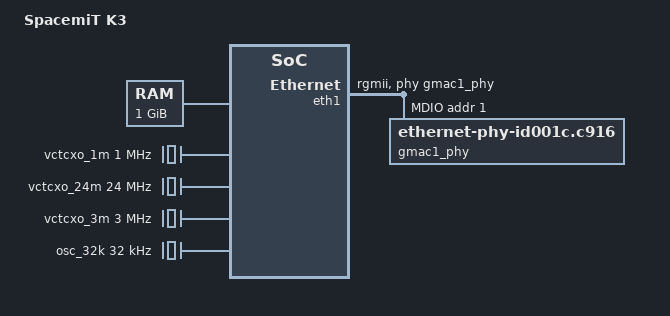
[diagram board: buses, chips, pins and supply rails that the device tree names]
/dts-v1/;

/ {
	#address-cells = <2>;
	#size-cells = <2>;
	model = "SpacemiT K3";
	compatible = "spacemit,k3";

	cpus: cpus {
		#address-cells = <1>;
		#size-cells = <0>;
		timebase-frequency = <24000000>;

		cpu_0: cpu@0 {
			compatible = "spacemit,x100", "riscv";
			device_type = "cpu";
			reg = <0>;
			riscv,isa-base = "rv64i";
			riscv,isa-extensions = "i", "m", "a", "f", "d", "c", "b", "v", "h",
					       "sha", "shcounterenw", "shgatpa", "shtvala",
					       "shvsatpa", "shvstvala", "shvstvecd", "smaia",
					       "smstateen", "ssaia", "ssccptr", "sscofpmf",
					       "sscounterenw", "ssnpm", "ssstateen", "sstc",
					       "sstvala", "sstvecd", "ssu64xl", "svade",
					       "svinval", "svnapot", "svpbmt", "za64rs",
					       "zawrs", "zba", "zbb", "zbc", "zbs", "zca",
					       "zcb", "zcd", "zcmop", "zfa", "zfbfmin",
					       "zfh", "zfhmin", "zicbom", "zicbop", "zicboz",
					       "ziccamoa", "ziccif", "zicclsm", "zicntr",
					       "zicond", "zicsr", "zifencei", "zihintntl",
					       "zihintpause", "zihpm", "zimop", "zkt", "zvbb",
					       "zvbc", "zvfbfmin", "zvfbfwma", "zvfh",
					       "zvfhmin", "zvkb", "zvkg", "zvkn", "zvknc",
					       "zvkned", "zvkng", "zvknha", "zvknhb", "zvks",
					       "zvksc", "zvksed", "zvksg", "zvksh", "zvkt";
			riscv,cbom-block-size = <64>;
			riscv,cbop-block-size = <64>;
			riscv,cboz-block-size = <64>;
			i-cache-block-size = <64>;
			i-cache-size = <65536>;
			i-cache-sets = <256>;
			d-cache-block-size = <64>;
			d-cache-size = <65536>;
			d-cache-sets = <256>;
			next-level-cache = <&l2_cache0>;
			mmu-type = "riscv,sv39";

			cpu0_intc: interrupt-controller {
				compatible = "riscv,cpu-intc";
				#interrupt-cells = <1>;
				interrupt-controller;
			};
		};

		cpu_1: cpu@1 {
			compatible = "spacemit,x100", "riscv";
			device_type = "cpu";
			reg = <1>;
			riscv,isa-base = "rv64i";
			riscv,isa-extensions = "i", "m", "a", "f", "d", "c", "b", "v", "h",
					       "sha", "shcounterenw", "shgatpa", "shtvala",
					       "shvsatpa", "shvstvala", "shvstvecd", "smaia",
					       "smstateen", "ssaia", "ssccptr", "sscofpmf",
					       "sscounterenw", "ssnpm", "ssstateen", "sstc",
					       "sstvala", "sstvecd", "ssu64xl", "svade",
					       "svinval", "svnapot", "svpbmt", "za64rs",
					       "zawrs", "zba", "zbb", "zbc", "zbs", "zca",
					       "zcb", "zcd", "zcmop", "zfa", "zfbfmin",
					       "zfh", "zfhmin", "zicbom", "zicbop", "zicboz",
					       "ziccamoa", "ziccif", "zicclsm", "zicntr",
					       "zicond", "zicsr", "zifencei", "zihintntl",
					       "zihintpause", "zihpm", "zimop", "zkt", "zvbb",
					       "zvbc", "zvfbfmin", "zvfbfwma", "zvfh",
					       "zvfhmin", "zvkb", "zvkg", "zvkn", "zvknc",
					       "zvkned", "zvkng", "zvknha", "zvknhb", "zvks",
					       "zvksc", "zvksed", "zvksg", "zvksh", "zvkt";
			riscv,cbom-block-size = <64>;
			riscv,cbop-block-size = <64>;
			riscv,cboz-block-size = <64>;
			i-cache-block-size = <64>;
			i-cache-size = <65536>;
			i-cache-sets = <256>;
			d-cache-block-size = <64>;
			d-cache-size = <65536>;
			d-cache-sets = <256>;
			next-level-cache = <&l2_cache0>;
			mmu-type = "riscv,sv39";

			cpu1_intc: interrupt-controller {
				compatible = "riscv,cpu-intc";
				#interrupt-cells = <1>;
				interrupt-controller;
			};
		};

		cpu_2: cpu@2 {
			compatible = "spacemit,x100", "riscv";
			device_type = "cpu";
			reg = <2>;
			riscv,isa-base = "rv64i";
			riscv,isa-extensions = "i", "m", "a", "f", "d", "c", "b", "v", "h",
					       "sha", "shcounterenw", "shgatpa", "shtvala",
					       "shvsatpa", "shvstvala", "shvstvecd", "smaia",
					       "smstateen", "ssaia", "ssccptr", "sscofpmf",
					       "sscounterenw", "ssnpm", "ssstateen", "sstc",
					       "sstvala", "sstvecd", "ssu64xl", "svade",
					       "svinval", "svnapot", "svpbmt", "za64rs",
					       "zawrs", "zba", "zbb", "zbc", "zbs", "zca",
					       "zcb", "zcd", "zcmop", "zfa", "zfbfmin",
					       "zfh", "zfhmin", "zicbom", "zicbop", "zicboz",
					       "ziccamoa", "ziccif", "zicclsm", "zicntr",
					       "zicond", "zicsr", "zifencei", "zihintntl",
					       "zihintpause", "zihpm", "zimop", "zkt", "zvbb",
					       "zvbc", "zvfbfmin", "zvfbfwma", "zvfh",
					       "zvfhmin", "zvkb", "zvkg", "zvkn", "zvknc",
					       "zvkned", "zvkng", "zvknha", "zvknhb", "zvks",
					       "zvksc", "zvksed", "zvksg", "zvksh", "zvkt";
			riscv,cbom-block-size = <64>;
			riscv,cbop-block-size = <64>;
			riscv,cboz-block-size = <64>;
			i-cache-block-size = <64>;
			i-cache-size = <65536>;
			i-cache-sets = <256>;
			d-cache-block-size = <64>;
			d-cache-size = <65536>;
			d-cache-sets = <256>;
			next-level-cache = <&l2_cache0>;
			mmu-type = "riscv,sv39";

			cpu2_intc: interrupt-controller {
				compatible = "riscv,cpu-intc";
				#interrupt-cells = <1>;
				interrupt-controller;
			};
		};

		cpu_3: cpu@3 {
			compatible = "spacemit,x100", "riscv";
			device_type = "cpu";
			reg = <3>;
			riscv,isa-base = "rv64i";
			riscv,isa-extensions = "i", "m", "a", "f", "d", "c", "b", "v", "h",
					       "sha", "shcounterenw", "shgatpa", "shtvala",
					       "shvsatpa", "shvstvala", "shvstvecd", "smaia",
					       "smstateen", "ssaia", "ssccptr", "sscofpmf",
					       "sscounterenw", "ssnpm", "ssstateen", "sstc",
					       "sstvala", "sstvecd", "ssu64xl", "svade",
					       "svinval", "svnapot", "svpbmt", "za64rs",
					       "zawrs", "zba", "zbb", "zbc", "zbs", "zca",
					       "zcb", "zcd", "zcmop", "zfa", "zfbfmin",
					       "zfh", "zfhmin", "zicbom", "zicbop", "zicboz",
					       "ziccamoa", "ziccif", "zicclsm", "zicntr",
					       "zicond", "zicsr", "zifencei", "zihintntl",
					       "zihintpause", "zihpm", "zimop", "zkt", "zvbb",
					       "zvbc", "zvfbfmin", "zvfbfwma", "zvfh",
					       "zvfhmin", "zvkb", "zvkg", "zvkn", "zvknc",
					       "zvkned", "zvkng", "zvknha", "zvknhb", "zvks",
					       "zvksc", "zvksed", "zvksg", "zvksh", "zvkt";
			riscv,cbom-block-size = <64>;
			riscv,cbop-block-size = <64>;
			riscv,cboz-block-size = <64>;
			i-cache-block-size = <64>;
			i-cache-size = <65536>;
			i-cache-sets = <256>;
			d-cache-block-size = <64>;
			d-cache-size = <65536>;
			d-cache-sets = <256>;
			next-level-cache = <&l2_cache0>;
			mmu-type = "riscv,sv39";

			cpu3_intc: interrupt-controller {
				compatible = "riscv,cpu-intc";
				#interrupt-cells = <1>;
				interrupt-controller;
			};
		};

		l2_cache0: cache-controller-0 {
			compatible = "cache";
			cache-block-size = <64>;
			cache-level = <2>;
			cache-size = <4194304>;
			cache-sets = <4096>;
			cache-unified;
		};

		l2_cache1: cache-controller-1 {
			compatible = "cache";
			cache-block-size = <64>;
			cache-level = <2>;
			cache-size = <4194304>;
			cache-sets = <4096>;
			cache-unified;
		};

		cpu-map {
			cluster0 {
				core0 {
					cpu = <&cpu_0>;
				};
				core1 {
					cpu = <&cpu_1>;
				};
				core2 {
					cpu = <&cpu_2>;
				};
				core3 {
					cpu = <&cpu_3>;
				};
			};
		};
	};

	memory@180000000 {
		device_type = "memory";
		reg = <0x1 0x80000000 0x0 0x40000000>;
	};

	clocks {
		vctcxo_1m: clock-1m {
			compatible = "fixed-clock";
			clock-frequency = <1000000>;
			clock-output-names = "vctcxo_1m";
			#clock-cells = <0>;
		};

		vctcxo_24m: clock-24m {
			compatible = "fixed-clock";
			clock-frequency = <24000000>;
			clock-output-names = "vctcxo_24m";
			#clock-cells = <0>;
		};

		vctcxo_3m: clock-3m {
			compatible = "fixed-clock";
			clock-frequency = <3000000>;
			clock-output-names = "vctcxo_3m";
			#clock-cells = <0>;
		};

		osc_32k: clock-32k {
			compatible = "fixed-clock";
			clock-frequency = <32000>;
			clock-output-names = "osc_32k";
			#clock-cells = <0>;
		};
	};

	soc: soc {
		compatible = "simple-bus";
		interrupt-parent = <&saplic>;
		#address-cells = <2>;
		#size-cells = <2>;
		dma-noncoherent;
		ranges;

		syscon_apmu: system-controller@d4282800 {
			compatible = "spacemit,k3-syscon-apmu";
			reg = <0x0 0xd4282800 0x0 0x400>;
			clocks = <&osc_32k>, <&vctcxo_1m>, <&vctcxo_3m>, <&vctcxo_24m>;
			clock-names = "osc", "vctcxo_1m", "vctcxo_3m", "vctcxo_24m";
			#clock-cells = <1>;
			#power-domain-cells = <1>;
			#reset-cells = <1>;
		};

		/* APBC clock/reset controller: clock provider for the GPIO and pinctrl
		 * blocks, which gmac1 depends on (pinctrl-0 + PHY reset-gpio). Needs its
		 * MMIO (0xd4015000) passed through to the Bao guest. */
		syscon_apbc: system-controller@d4015000 {
			compatible = "spacemit,k3-syscon-apbc";
			reg = <0x0 0xd4015000 0x0 0x1000>;
			clocks = <&osc_32k>, <&vctcxo_1m>, <&vctcxo_3m>, <&vctcxo_24m>;
			clock-names = "osc", "vctcxo_1m", "vctcxo_3m", "vctcxo_24m";
			#clock-cells = <1>;
			#reset-cells = <1>;
		};

		/* GPIO register block, also viewed as two syscon regions (overlapping
		 * the same 0xd4019000 page). Needs 0xd4019000 (0x1000) passed through. */
		syscon_gpio: syscon-gpio {
			compatible = "syscon";
			reg = <0x0 0xd4019000 0x0 0x800>;
		};

		syscon_gpio_edge: syscon-gpio-edge {
			compatible = "syscon";
			reg = <0x0 0xd4019800 0x0 0x10>;
		};

		/* GPIO controller - provides the PHY reset line (gmac1 bank1/line5). */
		gpio: gpio@d4019000 {
			compatible = "spacemit,k3-gpio";
			reg = <0x0 0xd4019000 0x0 0x100>;
			clocks = <&syscon_apbc 20>, <&syscon_apbc 21>; /* CLK_APBC_GPIO[_BUS] */
			clock-names = "core", "bus";
			gpio-controller;
			#gpio-cells = <3>;
			interrupts = <58 4>;
			interrupt-parent = <&saplic>;
			interrupt-controller;
			#interrupt-cells = <3>;
			syscon-gpio-regs = <&syscon_gpio>;
			syscon-gpio-edge = <&syscon_gpio_edge>;
			gpio-ranges = <&pinctrl 0 0 0 32>,
				      <&pinctrl 1 0 32 32>,
				      <&pinctrl 2 0 64 32>,
				      <&pinctrl 3 0 96 32>;
		};

		/* Pinctrl controller - muxes the gmac1 RGMII/MDIO pads (gmac1_cfg).
		 * Needs 0xd401e000 (0x1000) passed through. */
		pinctrl: pinctrl@d401e000 {
			compatible = "spacemit,k3-pinctrl";
			reg = <0x0 0xd401e000 0x0 0x400>,
			      <0x0 0xd401e800 0x0 0x34>;
			clocks = <&syscon_apbc 103>, <&syscon_apbc 104>; /* CLK_APBC_AIB[_BUS] */
			clock-names = "func", "bus";
			interrupt-controller;
			#interrupt-cells = <2>;
			interrupts = <60 4>;
			interrupt-parent = <&saplic>;
			spacemit,gpio-edge = <&syscon_gpio_edge>;
			spacemit,apbc = <&syscon_apbc 0x50>;
			spacemit,apmu = <&syscon_apmu>;
		};

		eth1: ethernet@cac82000 {
			compatible = "spacemit,k3-gmac", "snps,dwmac-5.10a";
			reg = <0x0 0xcac82000 0x0 0x2000>;
			clocks = <&syscon_apmu 79>,
				 <&syscon_apmu 81>;
			clock-names = "stmmaceth", "ptp_ref";
			interrupts = <133 4>,
				     <277 4>;
			interrupt-names = "macirq", "eth_wake_irq";
			resets = <&syscon_apmu 78>;
			reset-names = "stmmaceth";
			rx-fifo-depth = <8192>;
			tx-fifo-depth = <8192>;
			snps,multicast-filter-bins = <64>;
			snps,perfect-filter-entries = <32>;
			snps,aal;
			snps,tso;
			snps,txpbl = <8>;
			snps,rxpbl = <8>;
			snps,force_sf_dma_mode;
			snps,axi-config = <&gmac1_axi_setup>;
			/* dwmac-spacemit-ethqos reads these as 3 separate properties:
			 * spacemit,apmu = phandle only; ctrl/dline offsets as u32. */
			spacemit,apmu = <&syscon_apmu>;
			spacemit,ctrl-offset = <0x3ec>;
			spacemit,dline-offset = <0x3f0>;
			status = "disabled";

			mdio {
				compatible = "snps,dwmac-mdio";
				#address-cells = <1>;
				#size-cells = <0>;
			};

			gmac1_axi_setup: stmmac-axi-config {
				snps,wr_osr_lmt = <0xf>;
				snps,rd_osr_lmt = <0xf>;
				/* max axi burst len is 256 */
				snps,blen = <256 128 64 32 16 0 0>;
			};
		};

		simsic: interrupt-controller@e0400000 {
			compatible = "spacemit,k3-imsics", "riscv,imsics";
			/* Bao maps one S-level interrupt file per vCPU CONTIGUOUSLY, one
			 * 4K page apart (vimsic: imsic.base + 4K * vcpu_id). The virtual
			 * geometry is therefore guest-index-bits = 0 (absent) and
			 * hart-index-bits = 2 (covers the 4 harts => 0x4000 window), so
			 * cpu N's file sits at 0xe0400000 + N*0x1000. hart-index-bits
			 * MUST match: the APLIC MSI driver decomposes the per-CPU MSI
			 * address with it (WARN at aplic_msi_write_msg otherwise). Each
			 * file is backed by a VS interrupt file: only 63 MSI ids. */
			reg = <0x0 0xe0400000 0x0 0x4000>;
			#interrupt-cells = <0>;
			#msi-cells = <0>;
			interrupt-controller;
			interrupts-extended = <&cpu0_intc 9>, <&cpu1_intc 9>,
					      <&cpu2_intc 9>, <&cpu3_intc 9>;
			msi-controller;
			riscv,hart-index-bits = <2>;
			riscv,num-ids = <63>;
		};

		saplic: interrupt-controller@e0804000 {
			compatible = "spacemit,k3-aplic", "riscv,aplic";
			reg = <0x0 0xe0804000 0x0 0x4000>;
			#interrupt-cells = <2>;
			interrupt-controller;
			msi-parent = <&simsic>;
			riscv,num-sources = <512>;
		};
	};

	chosen {
		bootargs = "clk_ignore_unused ip=192.168.42.15 carrier_timeout=0";
	};

    aliases {
		ethernet0 = &eth1;
	};

	/* Bao inter-VM shared-memory channel to the FreeRTOS VM (shmem 0 in the
	 * Bao config: base 0xf0000000, 64 KiB, notification irq 52). The channel
	 * layout mirrors the FreeRTOS demo app: it writes its message at offset
	 * 0x0 (our read-channel) and reads ours at 0x2000 (our write-channel).
	 * Driver: the out-of-tree "ipc" module from bao-project/bao-linux-drivers
	 * (compatible bao,ipcshmem); no kernel patch needed. */
	bao-ipc@f0000000 {
		compatible = "bao,ipcshmem";
		reg = <0x0 0xf0000000 0x0 0x00010000>;
		read-channel = <0x0 0x2000>;
		write-channel = <0x2000 0x2000>;
		interrupt-parent = <&saplic>;
		interrupts = <52 1>; /* edge-rising: message irq injected by Bao */
		id = <0>;
	};
};

/* gmac1 RGMII + MDIO pad mux (effective CoM260-kit set: vendor groups 0/1/3/6,
 * with kit's gmac1-2/4/5 deleted). pinmux raw form = (pin << 16) | func. */
&pinctrl {
	/omit-if-no-ref/
	gmac1_cfg: gmac1-cfg {
		gmac1_base_pins: gmac1-0-pins {
			pinmux = <0x150001>,	/* pin 21 rx_ctl */
				 <0x160001>,	/* pin 22 rx d0  */
				 <0x170001>,	/* pin 23 rx d1  */
				 <0x180001>,	/* pin 24 rxc    */
				 <0x1b0001>,	/* pin 27 tx d0  */
				 <0x1c0001>,	/* pin 28 tx d1  */
				 <0x200001>,	/* pin 32 tx_ctl */
				 <0x210001>,	/* pin 33 mdc    */
				 <0x220001>;	/* pin 34 mdio   */
			bias-disable;
			drive-strength = <25>;
			power-source = <1800>;
		};
		gmac1_rgmii_add_pins: gmac1-1-pins {
			pinmux = <0x190001>,	/* pin 25 rx d2  */
				 <0x1a0001>,	/* pin 26 rx d3  */
				 <0x1d0001>,	/* pin 29 tx clk */
				 <0x1e0001>,	/* pin 30 tx d2  */
				 <0x1f0001>;	/* pin 31 tx d3  */
			bias-disable;
			drive-strength = <25>;
			power-source = <1800>;
		};
		gmac1_int_pins: gmac1-3-pins {
			pinmux = <0x230001>;	/* pin 35 phy int */
			bias-disable;
			drive-strength = <25>;
			power-source = <1800>;
		};
		gmac1_pin6: gmac1-6-pins {
			pinmux = <0x250000>;	/* pin 37 func 0 (board-specific) */
			bias-disable;
			drive-strength = <25>;
			power-source = <1800>;
		};
	};
};

&eth1 {
	pinctrl-names = "default";
	pinctrl-0 = <&gmac1_cfg>;

	max-speed = <1000>;
	phy-mode = "rgmii";
	phy-handle = <&gmac1_phy>;
	snps,reset-gpios = <&gpio 1 5 1>;
	snps,reset-delays-us = <0 20000 100000>;

	spacemit,wake-irq-enable;

	spacemit,clk-tuning-enable;
	spacemit,clk-tuning-by-delayline;
	spacemit,tx-phase = <47>;
	spacemit,rx-phase = <53>;

	status = "okay";

	mdio {
		#address-cells = <1>;
		#size-cells = <0>;
		compatible = "snps,dwmac-mdio";

		gmac1_phy: ethernet-phy@1 {
			compatible = "ethernet-phy-id001c.c916",
				     "ethernet-phy-ieee802.3-c22";
			reg = <1>;

			leds {
				#address-cells = <1>;
				#size-cells = <0>;

				led@1 {
					reg = <1>;
					function = "lan";
					color = <2>;
					default-state = "keep";
				};

				led@2 {
					reg = <2>;
					function = "lan";
					color = <6>;
					default-state = "keep";
				};
			};
		};
	};
};
